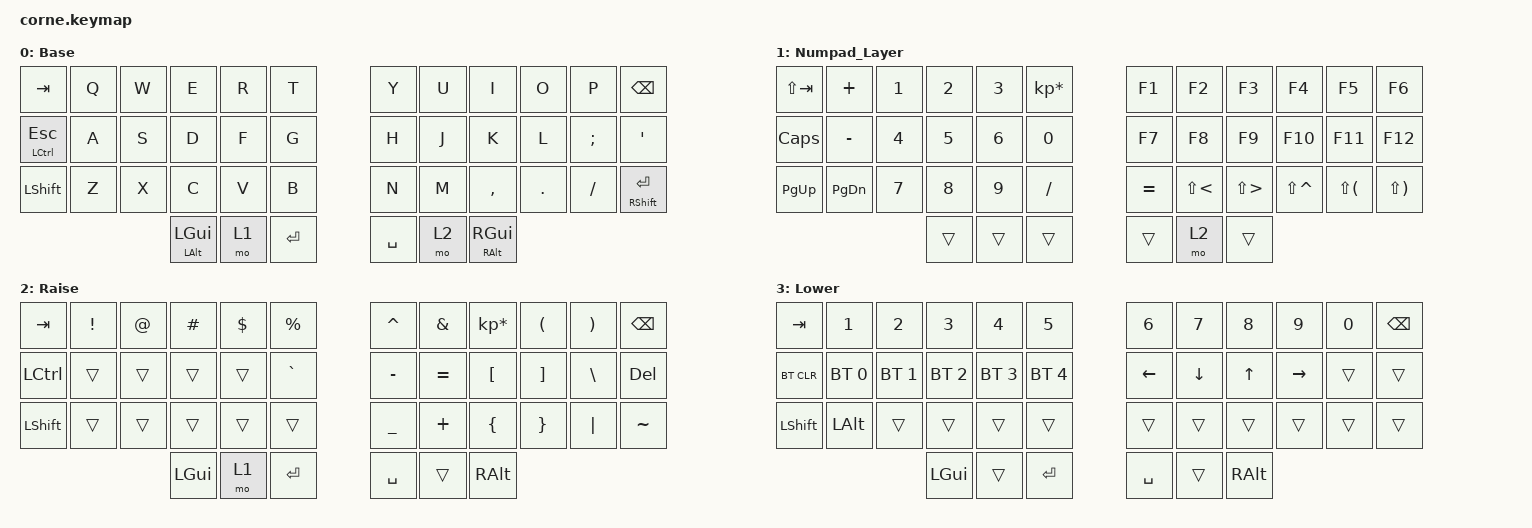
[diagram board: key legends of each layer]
/*
 * Copyright (c) 2020 The ZMK Contributors
 *
 * SPDX-License-Identifier: MIT
 */

#include <behaviors.dtsi>
#include <dt-bindings/zmk/bt.h>
#include <dt-bindings/zmk/keys.h>

/ {
    keymap {
        compatible = "zmk,keymap";

        default_layer {
            // -----------------------------------------------------------------------------------------
            // |  TAB |  Q  |  W  |  E  |  R  |  T  |   |  Y  |  U   |  I  |  O  |  P  | BKSP |
            // | CTRL |  A  |  S  |  D  |  F  |  G  |   |  H  |  J   |  K  |  L  |  ;  |  '   |
            // | SHFT |  Z  |  X  |  C  |  V  |  B  |   |  N  |  M   |  ,  |  .  |  /  | ESC  |
            //                    | GUI | LWR | SPC |   | ENT | RSE  | ALT |

            display-name = "Base";
            bindings = <
&kp TAB        &kp Q  &kp W  &kp E                  &kp R  &kp T        &kp Y      &kp U  &kp I               &kp O    &kp P     &kp BSPC
&mt LCTRL ESC  &kp A  &kp S  &kp D                  &kp F  &kp G        &kp H      &kp J  &kp K               &kp L    &kp SEMI  &kp SQT
&kp LSHFT      &kp Z  &kp X  &kp C                  &kp V  &kp B        &kp N      &kp M  &kp COMMA           &kp DOT  &kp FSLH  &mt RSHFT ENTER
                             &mt LEFT_ALT LEFT_GUI  &mo 1  &kp ENTER    &kp SPACE  &mo 2  &mt RALT RIGHT_GUI
            >;
        };

        Numpad_Layer {
            bindings = <
&kp LS(TAB)  &kp PLUS   &kp N1  &kp N2  &kp N3  &kp KP_MULTIPLY    &kp F1     &kp F2      &kp F3      &kp F4         &kp F5        &kp F6
&kp CAPS     &kp MINUS  &kp N4  &kp N5  &kp N6  &kp N0             &kp F7     &kp F8      &kp F9      &kp F10        &kp F11       &kp F12
&kp PAGE_UP  &kp PG_DN  &kp N7  &kp N8  &kp N9  &kp SLASH          &kp EQUAL  &kp LS(LT)  &kp LS(GT)  &kp LS(CARET)  &kp LS(LPAR)  &kp LS(RPAR)
                                &trans  &trans  &trans             &trans     &mo 2       &trans
            >;
        };

        raise_layer {
            // -----------------------------------------------------------------------------------------
            // |  TAB |  !  |  @  |  #  |  $  |  %  |   |  ^  |  &  |  *  |  (  |  )  | BKSP |
            // | CTRL |     |     |     |     |     |   |  -  |  =  |  [  |  ]  |  \  |  `   |
            // | SHFT |     |     |     |     |     |   |  _  |  +  |  {  |  }  | "|" |  ~   |
            //                    | GUI |     | SPC |   | ENT |     | ALT |

            display-name = "Raise";
            bindings = <
&kp TAB    &kp EXCL  &kp AT  &kp HASH  &kp DLLR  &kp PRCNT    &kp CARET  &kp AMPS   &kp KP_MULTIPLY  &kp LPAR  &kp RPAR  &kp BSPC
&kp LCTRL  &trans    &trans  &trans    &trans    &kp GRAVE    &kp MINUS  &kp EQUAL  &kp LBKT         &kp RBKT  &kp BSLH  &kp DEL
&kp LSHFT  &trans    &trans  &trans    &trans    &trans       &kp UNDER  &kp PLUS   &kp LBRC         &kp RBRC  &kp PIPE  &kp TILDE
                             &kp LGUI  &mo 1     &kp ENTER    &kp SPACE  &trans     &kp RALT
            >;
        };

        BT+Arrows {
            // -----------------------------------------------------------------------------------------
            // |  TAB |  1  |  2  |  3  |  4  |  5  |   |  6  |  7  |  8  |  9  |  0  | BKSP |
            // | BTCLR| BT1 | BT2 | BT3 | BT4 | BT5 |   | LFT | DWN |  UP | RGT |     |      |
            // | SHFT |     |     |     |     |     |   |     |     |     |     |     |      |
            //                    | GUI |     | SPC |   | ENT |     | ALT |

            display-name = "Lower";
            bindings = <
&kp TAB     &kp N1        &kp N2        &kp N3        &kp N4        &kp N5          &kp N6     &kp N7    &kp N8    &kp N9     &kp N0  &kp BSPC
&bt BT_CLR  &bt BT_SEL 0  &bt BT_SEL 1  &bt BT_SEL 2  &bt BT_SEL 3  &bt BT_SEL 4    &kp LEFT   &kp DOWN  &kp UP    &kp RIGHT  &trans  &trans
&kp LSHFT   &kp LEFT_ALT  &trans        &trans        &trans        &trans          &trans     &trans    &trans    &trans     &trans  &trans
                                        &kp LGUI      &trans        &kp ENTER       &kp SPACE  &trans    &kp RALT
            >;
        };
    };

    conditional_layers {
        compatible = "zmk,conditional-layers";

        BT+ARROWS {
            if-layers = <1 2>;
            then-layer = <3>;
        };
    };
};
